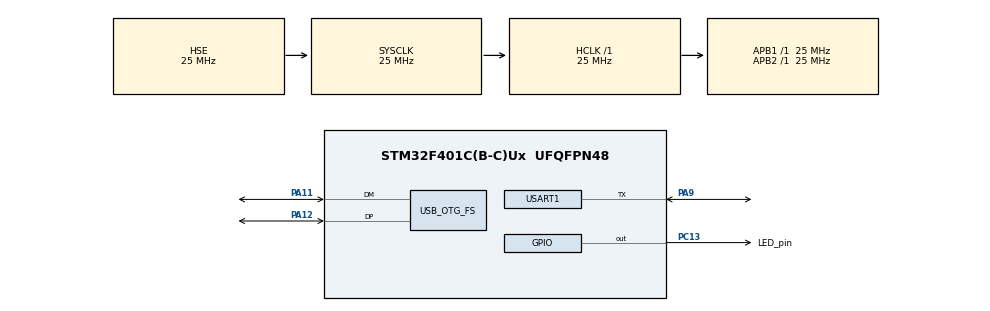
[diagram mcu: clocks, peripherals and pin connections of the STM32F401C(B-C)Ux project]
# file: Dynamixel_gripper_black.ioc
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FREERTOS.Tasks01=defaultTask,0,128,StartDefaultTask,Default,NULL,Dynamic,NULL,NULL
Mcu.Family=STM32F4
Mcu.Name=STM32F401C(B-C)Ux
Mcu.Package=UFQFPN48
NVIC.OTG_FS_IRQn=true\:5\:0\:false\:false\:true\:true\:false\:true\:true
NVIC.PriorityGroup=NVIC_PRIORITYGROUP_4
NVIC.TIM1_UP_TIM10_IRQn=true\:15\:0\:false\:false\:true\:false\:false\:true\:true
NVIC.TimeBase=TIM1_UP_TIM10_IRQn
NVIC.TimeBaseIP=TIM1
PA11.Mode=Device_Only
PA11.Signal=USB_OTG_FS_DM
PA12.Mode=Device_Only
PA12.Signal=USB_OTG_FS_DP
PA13.Mode=Serial_Wire
PA13.Signal=SYS_JTMS-SWDIO
PA14.Mode=Serial_Wire
PA14.Signal=SYS_JTCK-SWCLK
PA9.Mode=Half_duplex(single_wire_mode)
PA9.Signal=USART1_TX
PC13-ANTI_TAMP.GPIO_Label=LED_pin
PC13-ANTI_TAMP.Signal=GPIO_Output
PH0\ -\ OSC_IN.Mode=HSE-External-Oscillator
PH0\ -\ OSC_IN.Signal=RCC_OSC_IN
PH1\ -\ OSC_OUT.Mode=HSE-External-Oscillator
PH1\ -\ OSC_OUT.Signal=RCC_OSC_OUT
ProjectManager.HeapSize=0x200
ProjectManager.StackSize=0x400
ProjectManager.TargetToolchain=STM32CubeIDE
RCC.48MHZClocksFreq_Value=48000000
RCC.AHBFreq_Value=25000000
RCC.APB1Freq_Value=25000000
RCC.APB1TimFreq_Value=25000000
RCC.APB2Freq_Value=25000000
RCC.APB2TimFreq_Value=25000000
RCC.CortexFreq_Value=25000000
RCC.HCLKFreq_Value=25000000
RCC.HSE_VALUE=25000000
RCC.HSI_VALUE=16000000
RCC.LSE_VALUE=32768
RCC.PLLM=15
RCC.PLLN=144
RCC.PLLQ=5
RCC.SYSCLKFreq_VALUE=25000000
RCC.SYSCLKSource=RCC_SYSCLKSOURCE_HSE
RCC.VCOOutputFreq_Value=240000000
USART1.VirtualMode=VM_ASYNC
USB_DEVICE.CLASS_NAME_FS=CDC
USB_DEVICE.VirtualMode=Cdc
USB_DEVICE.VirtualModeFS=Cdc_FS
USB_OTG_FS.VirtualMode=Device_Only
VP_FREERTOS_VS_CMSIS_V1.Mode=CMSIS_V1
VP_SYS_VS_tim1.Mode=TIM1
VP_USB_DEVICE_VS_USB_DEVICE_CDC_FS.Mode=CDC_FS
board=custom

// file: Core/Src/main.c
/* USER CODE BEGIN Header */
/**
  ******************************************************************************
  * @file           : main.c
  * @brief          : Main program body
  ******************************************************************************
  */
/* USER CODE END Header */
//#include "dynamixel_stm32_ax12_p1.h"
#include <dynamixel_stm32_mx28_p2.h>
#include "main.h"
#include "cmsis_os.h"
#include "usb_device.h"

/* USER CODE BEGIN Includes */

#include <stdlib.h>
#include <string.h>
#include <stdio.h>
#include <math.h>

#define OPEN 70
#define CLOSE 4090

/* USER CODE END Includes */

UART_HandleTypeDef huart1;

osThreadId defaultTaskHandle;
/* USER CODE BEGIN PV */
osThreadId dynamixelTaskHandle;

osMutexId dynamixelMutexHandle;

volatile uint8_t usb_cdc_connected = 0;
volatile uint8_t usb_cmd_ready = 0;
volatile uint8_t usb_cmd_buffer[64];
volatile uint32_t usb_cmd_len = 0;

int32_t target_position = OPEN;
int32_t current_position = 0;
int32_t current_velocity = 0;
int32_t current_load = 0;

const uint8_t DXL_ID = 4;
uint8_t command = 1;
uint8_t early_stop = 0;

_Bool opened = 1;

int32_t safety_delta = 25;

uint32_t last_command_tick = 0;
const uint32_t safety_check_delay_ms = 100;

/* USER CODE END PV */

void SystemClock_Config(void);
static void MX_GPIO_Init(void);
static void MX_USART1_UART_Init(void);
void StartDefaultTask(void const * argument);

/* USER CODE BEGIN PFP */
void DynamixelLoop(void const * argument);
/* USER CODE END PFP */

int main(void)
{

  /* MCU Configuration--------------------------------------------------------*/

  /* Reset of all peripherals, Initializes the Flash interface and the Systick. */
  HAL_Init();

  /* Configure the system clock */
  SystemClock_Config();

  /* Initialize all configured peripherals */
  MX_GPIO_Init();
  MX_USART1_UART_Init();

  /* USER CODE BEGIN RTOS_MUTEX */
  osMutexDef(dynamixelMutex);
  dynamixelMutexHandle = osMutexCreate(osMutex(dynamixelMutex));
  /* USER CODE END RTOS_MUTEX */

  /* Create the thread(s) */
  /* definition and creation of defaultTask */
  osThreadDef(defaultTask, StartDefaultTask, osPriorityNormal, 0, 1024);
  defaultTaskHandle = osThreadCreate(osThread(defaultTask), NULL);

  /* USER CODE BEGIN RTOS_THREADS */
  osThreadDef(dynamixelTask, DynamixelLoop, osPriorityNormal, 0, 1024);
  dynamixelTaskHandle = osThreadCreate(osThread(dynamixelTask), NULL);
  /* USER CODE END RTOS_THREADS */

  /* Start scheduler */
  osKernelStart();
  /* We should never get here as control is now taken by the scheduler */
  /* Infinite loop */
  while (1)
  {

  }
}

void SystemClock_Config(void)
{
  RCC_OscInitTypeDef RCC_OscInitStruct = {0};
  RCC_ClkInitTypeDef RCC_ClkInitStruct = {0};

  /** Configure the main internal regulator output voltage
  */
  __HAL_RCC_PWR_CLK_ENABLE();
  __HAL_PWR_VOLTAGESCALING_CONFIG(PWR_REGULATOR_VOLTAGE_SCALE2);

  /** Initializes the RCC Oscillators according to the specified parameters
  * in the RCC_OscInitTypeDef structure.
  */
  RCC_OscInitStruct.OscillatorType = RCC_OSCILLATORTYPE_HSE;
  RCC_OscInitStruct.HSEState = RCC_HSE_ON;
  RCC_OscInitStruct.PLL.PLLState = RCC_PLL_ON;
  RCC_OscInitStruct.PLL.PLLSource = RCC_PLLSOURCE_HSE;
  RCC_OscInitStruct.PLL.PLLM = 15;
  RCC_OscInitStruct.PLL.PLLN = 144;
  RCC_OscInitStruct.PLL.PLLP = RCC_PLLP_DIV2;
  RCC_OscInitStruct.PLL.PLLQ = 5;
  if (HAL_RCC_OscConfig(&RCC_OscInitStruct) != HAL_OK)
  {
    Error_Handler();
  }

  /** Initializes the CPU, AHB and APB buses clocks
  */
  RCC_ClkInitStruct.ClockType = RCC_CLOCKTYPE_HCLK|RCC_CLOCKTYPE_SYSCLK
                              |RCC_CLOCKTYPE_PCLK1|RCC_CLOCKTYPE_PCLK2;
  RCC_ClkInitStruct.SYSCLKSource = RCC_SYSCLKSOURCE_HSE;
  RCC_ClkInitStruct.AHBCLKDivider = RCC_SYSCLK_DIV1;
  RCC_ClkInitStruct.APB1CLKDivider = RCC_HCLK_DIV1;
  RCC_ClkInitStruct.APB2CLKDivider = RCC_HCLK_DIV1;

  if (HAL_RCC_ClockConfig(&RCC_ClkInitStruct, FLASH_LATENCY_0) != HAL_OK)
  {
    Error_Handler();
  }
}

static void MX_USART1_UART_Init(void)
{

  huart1.Instance = USART1;
  huart1.Init.BaudRate = 115200;
  huart1.Init.WordLength = UART_WORDLENGTH_8B;
  huart1.Init.StopBits = UART_STOPBITS_1;
  huart1.Init.Parity = UART_PARITY_NONE;
  huart1.Init.Mode = UART_MODE_TX_RX;
  huart1.Init.HwFlowCtl = UART_HWCONTROL_NONE;
  huart1.Init.OverSampling = UART_OVERSAMPLING_16;
  if (HAL_HalfDuplex_Init(&huart1) != HAL_OK)
  {
    Error_Handler();
  }

}

static void MX_GPIO_Init(void)
{
  GPIO_InitTypeDef GPIO_InitStruct = {0};

  /* GPIO Ports Clock Enable */
  __HAL_RCC_GPIOC_CLK_ENABLE();
  __HAL_RCC_GPIOH_CLK_ENABLE();
  __HAL_RCC_GPIOA_CLK_ENABLE();

  /*Configure GPIO pin Output Level */
  HAL_GPIO_WritePin(LED_pin_GPIO_Port, LED_pin_Pin, GPIO_PIN_RESET);

  /*Configure GPIO pin : LED_pin_Pin */
  GPIO_InitStruct.Pin = LED_pin_Pin;
  GPIO_InitStruct.Mode = GPIO_MODE_OUTPUT_PP;
  GPIO_InitStruct.Pull = GPIO_NOPULL;
  GPIO_InitStruct.Speed = GPIO_SPEED_FREQ_LOW;
  HAL_GPIO_Init(LED_pin_GPIO_Port, &GPIO_InitStruct);

}

/* USER CODE BEGIN 4 */
int sign(int a)
{
	if (a > 0) return 1;
	else if (a < 0) return -1;
	else return 0;
}

void usb_print(const char *msg)
{
    uint32_t timeout = HAL_GetTick() + 100;

    if (!usb_cdc_connected)
            return;

	if (CDC_Transmit_FS((uint8_t *)msg, strlen(msg)) == USBD_BUSY)
	{
		return; // просто пропускаем сообщение
	}

//    while (CDC_Transmit_FS((uint8_t *)msg, strlen(msg)) == USBD_BUSY)
//    {
//        if (HAL_GetTick() > timeout)
//            break;
//    }
}

void process_usb_command(const char *cmd)
{

    if (strcmp(cmd, "Open") == 0)
    {
//    	usb_print_blocking("Opening...\r\n");
    	if (!opened)
    	{
    		osMutexWait(dynamixelMutexHandle, osWaitForever);
			target_position = OPEN;
			last_command_tick = HAL_GetTick();
			command = 1;
			early_stop = 0;
			osMutexRelease(dynamixelMutexHandle);
			opened = 1;
    	}

    }
    else if (strcmp(cmd, "Close") == 0)
    {
//    	usb_print_blocking("Closing...\r\n");
    	if (opened)
		{
			osMutexWait(dynamixelMutexHandle, osWaitForever);
			target_position = CLOSE;
			last_command_tick = HAL_GetTick();
			command = 1;
			early_stop = 0;
			osMutexRelease(dynamixelMutexHandle);
			opened = 0;
		}
    }
    else
    {
        usb_print("Unknown command\r\n");
    }
}

void DynamixelStartUp()
{
	dynamixel_set_led(&huart1, DXL_ID, 1);
	osDelay(300);
	dynamixel_set_led(&huart1, DXL_ID, 0);
	osDelay(300);

	dynamixel_set_torque_enable(&huart1, DXL_ID, 0);
	osDelay(100);

	dynamixel_set_operating_mode(&huart1, DXL_ID, DXL_MODE_POSITION);
	osDelay(100);

//	dynamixel_set_profile_acceleration(&huart1, DXL_ID, 1024);
//	osDelay(20);
//
//	dynamixel_set_profile_velocity(&huart1, DXL_ID, 1024);
//	osDelay(20);

//	dynamixel_set_joint_mode(&huart1, DXL_ID);
	dynamixel_set_p_value(&huart1, DXL_ID, 100);
	osDelay(20);
	dynamixel_set_d_value(&huart1, DXL_ID, 10);
	osDelay(20);

	dynamixel_set_torque_enable(&huart1, DXL_ID, 1);
	osDelay(300);
}

void DynamixelLoop(void const * argument)
{
    osDelay(1000);

    osMutexWait(dynamixelMutexHandle, osWaitForever);
    DynamixelStartUp();
    last_command_tick = HAL_GetTick();
    osMutexRelease(dynamixelMutexHandle);

    int32_t local_target = 0;
	uint32_t local_last_command_tick = 0;

    for (;;)
    {

        osMutexWait(dynamixelMutexHandle, osWaitForever);

        local_target = target_position;
        local_last_command_tick = last_command_tick;

        if (command > 0)
        {
        	dynamixel_set_goal_position(&huart1, DXL_ID, local_target);
        	command = 0;
        }

        dynamixel_read_present_position(&huart1, DXL_ID, &current_position);
        dynamixel_read_present_position(&huart1, DXL_ID, &current_position);

        dynamixel_read_present_moving_velocity(&huart1, DXL_ID, &current_velocity);
//        dynamixel_read_present_moving_velocity(&huart1, DXL _ID, &current_velocity);

        dynamixel_read_present_load(&huart1, DXL_ID, &current_load);
//        dynamixel_read_present_load(&huart1, DXL_ID, &current_load);

        osMutexRelease(dynamixelMutexHandle);

        uint32_t now = HAL_GetTick();

        if ((early_stop != 1) && (now - local_last_command_tick) >= safety_check_delay_ms)
        {
            if ((abs(current_velocity) < 50) &&
                (abs(current_position - local_target) >= safety_delta))
            {
                osMutexWait(dynamixelMutexHandle, osWaitForever);

                target_position =
                    current_position +
                    safety_delta * sign(current_load);

                last_command_tick = HAL_GetTick();

                command = 1;
                early_stop = 1;

                osMutexRelease(dynamixelMutexHandle);
            }
        }

        osDelay(1);
    }
}
/* USER CODE END 4 */

void StartDefaultTask(void const * argument)
{
  MX_USB_DEVICE_Init();

  osDelay(2000);

  char msg[96];

  uint32_t last_telemetry_tick = 0;

  for (;;)
  {

    if (usb_cmd_ready)
    {
        char cmd[64];

        __disable_irq();

        uint32_t len = usb_cmd_len;
        if (len > 63)
            len = 63;

        for (uint32_t i = 0; i <= len; i++)
        {
            cmd[i] = usb_cmd_buffer[i];
        }

        usb_cmd_ready = 0;

        __enable_irq();

        for (uint32_t i = 0; i < len; i++)
        {
            if (cmd[i] == '\r' || cmd[i] == '\n')
            {
                cmd[i] = '\0';
                break;
            }
        }

        process_usb_command(cmd);
    }

    if (usb_cdc_connected && (HAL_GetTick() - last_telemetry_tick >= 50))
    {
        last_telemetry_tick = HAL_GetTick();

        snprintf(
            msg,
            sizeof(msg),
            "target=%ld pos=%ld vel=%ld load=%ld\r\n",
            (long)target_position,
            (long)current_position,
            (long)current_velocity,
            (long)current_load
        );

        usb_print(msg);
    }

    osDelay(5);
  }
}
void HAL_TIM_PeriodElapsedCallback(TIM_HandleTypeDef *htim)
{
  if (htim->Instance == TIM1) {
    HAL_IncTick();
  }
}

void Error_Handler(void)
{
  __disable_irq();
  while (1)
  {
  }
}
